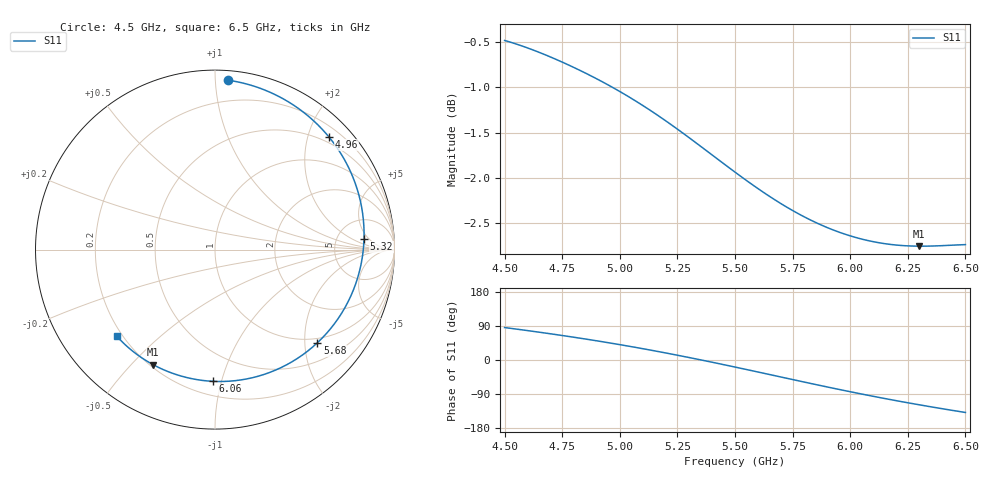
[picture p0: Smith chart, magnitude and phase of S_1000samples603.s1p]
! TOUCHSTONE file generated by CST MICROWAVE STUDIO
! Date and time: Fri Oct 28 17:59:02 2022
! Project name: L.cst
! Parameters = {Di=1.27; Epsilon_r=1.56; InnerDiameter=1.27; Length=2; Lf=10; Lg=60; OuterConductorThickness=0.2921; OuterDiameter=3.6; Wf=3; Wp=41.2; de=1.5; df=6.8; g=0.8; gx=3.01991; gy=2.41515; h=2.34; hf=1.524; px=10.438; py=8.95156; w=9.7; wx=7.41814; wy=6.53641}
! Header version: 2018
! Port assignment regex: !\s*Touchstone port\s*([0-9]+)\s*=\s*(CST MWS port|CST DS port)\s*([0-9]+|Zmin|Zmax)\s*\(\"(.*)\"\)(\s*mode\s*([0-9]+))?.*
! Touchstone port assignment:
! Touchstone port 1 = CST MWS port 1 ("")
# GHz S DB R 50
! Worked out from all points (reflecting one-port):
!   101 points, 4.5 GHz to 6.5 GHz, reference 50 ohm
!   lowest |S11| = -2.8 dB at 6.3 GHz (marker M1), VSWR 6.35, Z = 10.6 - j28.9 ohm
!   phase of S11 starts at 86 deg and turns -224 deg over the sweep
!   S11 on the Smith chart (normalised r, x): 4.5 GHz: 0.06, +1.08; 4.96 GHz: 0.39, +2.38; 5.32 GHz: 9, +4; 5.68 GHz: 0.89, -2.29; 6.06 GHz: 0.29, -0.94; 6.5 GHz: 0.18, -0.37
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4.5  -0.48 85.6
4.58  -0.54 79.2
4.64  -0.60 74.2
4.76  -0.73 63.8
4.86  -0.85 54.5
4.96  -0.99 44.6
5  -1.04 40.5
5.08  -1.17 32.0
5.14  -1.27 25.4
5.2  -1.37 18.5
5.26  -1.48 11.4
5.32  -1.59 4.2
5.4  -1.75 -5.8
5.44  -1.82 -10.9
5.5  -1.94 -18.6
5.58  -2.09 -29.1
5.68  -2.26 -42.3
5.76  -2.38 -52.9
5.82  -2.46 -60.8
5.88  -2.53 -68.6
5.94  -2.59 -76.2
6  -2.64 -83.7
6.06  -2.69 -91.0
6.16  -2.73 -102.8
6.26  -2.76 -113.9
6.3  -2.76 -118.2
6.4  -2.75 -128.6
6.5  -2.74 -138.4
